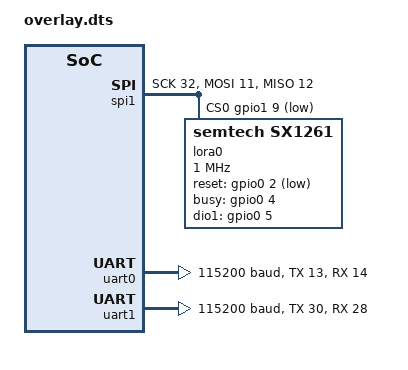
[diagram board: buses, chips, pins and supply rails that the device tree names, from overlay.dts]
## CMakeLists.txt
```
# Find Zephyr. This also loads Zephyr's build system.
cmake_minimum_required(VERSION 3.13.1)

set(BOARD nrf52840dk_nrf52840)
# set(BOARD nrf52833dk_nrf52833)
set(DTC_OVERLAY_FILE overlay.dts)

find_package(Zephyr REQUIRED HINTS $ENV{ZEPHYR_BASE})
project(draeger-module_lora_ble_scan)


# Add your source file to the "app" target. This must come after
# find_package(Zephyr) which defines the target.
target_sources(app PRIVATE src/main.c)
target_sources(app PRIVATE src/UART_handler.c)
target_sources(app PRIVATE src/SEGGER_RTT_printf.c)

zephyr_library_include_directories(${ZEPHYR_BASE}/samples/bluetooth)
```

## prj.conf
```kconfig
#To print messages for debugging.
CONFIG_PRINTK=y
CONFIG_ASSERT=y
CONFIG_HEAP_MEM_POOL_SIZE=2048
CONFIG_MAIN_STACK_SIZE=4096

CONFIG_UART_1_NRF_TX_BUFFER_SIZE=128
CONFIG_UART_0_NRF_TX_BUFFER_SIZE=128


# This line is crucial, as we do not have the coils for DCDC on the module
# The program will not boot without this line
CONFIG_BOARD_ENABLE_DCDC=n

# for uart:
CONFIG_SERIAL=y
CONFIG_UART_INTERRUPT_DRIVEN=y
CONFIG_CONSOLE=y
CONFIG_STDOUT_CONSOLE=y
# CONFIG_UART_CONSOLE=y

# for RTT debugging
CONFIG_RTT_CONSOLE=y
CONFIG_USE_SEGGER_RTT=y
CONFIG_STDOUT_CONSOLE=y
CONFIG_UART_CONSOLE=n


# for BLE
CONFIG_BT=y
CONFIG_BT_CENTRAL=y

# for BLE SCAN
CONFIG_BT_BROADCASTER=y
CONFIG_BT_OBSERVER=y
CONFIG_BT_DEBUG_LOG=y
# CONFIG_BT_DEBUG_CONN=y
# CONFIG_BT_DEBUG_ATT=y
# CONFIG_BT_DEBUG_GATT=y
#Custom central scanning
CONFIG_BT_SCAN=y
CONFIG_BT_SCAN_FILTER_ENABLE=y
# CONFIG_BT_SCAN_MANUFACTURER_DATA_CNT=1
# CONFIG_BT_SCAN_ADDRESS_CNT=1
CONFIG_BT_PRIVACY=y

#Flash settings for storage of security keys
CONFIG_BT_SETTINGS=y
CONFIG_FLASH=y
CONFIG_FLASH_PAGE_LAYOUT=y
CONFIG_FLASH_MAP=y
CONFIG_NVS=y
CONFIG_SETTINGS=y

# for LoRaWAN
# CONFIG_SPI=y
# CONFIG_GPIO=y
# CONFIG_LORA=y
# CONFIG_LORA_SX12XX=y
# CONFIG_LORA_SX126X=y
# CONFIG_LORA_LOG_LEVEL_DBG=n
# CONFIG_LORAWAN=y
# CONFIG_LORAMAC_REGION_EU868=y
# CONFIG_LORAWAN_LOG_LEVEL_DBG=n
```

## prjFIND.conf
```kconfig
#To print messages for debugging.
CONFIG_PRINTK=y

CONFIG_HEAP_MEM_POOL_SIZE=512
CONFIG_CBOR_FLOATING_POINT=y
CONFIG_NEWLIB_LIBC_FLOAT_PRINTF=y

# This line is crucial, as we do not have the coils for DCDC on the module
# The program will not boot without this line
CONFIG_BOARD_ENABLE_DCDC=n

# for uart:
CONFIG_SERIAL=y
CONFIG_UART_INTERRUPT_DRIVEN=y
CONFIG_CONSOLE=y
CONFIG_STDOUT_CONSOLE=y
CONFIG_UART_CONSOLE=y

# for RTT
CONFIG_RTT_CONSOLE=y
CONFIG_USE_SEGGER_RTT=y

# for sys_reboot()
CONFIG_REBOOT=y

# for BLE SCAN
CONFIG_BT=y
CONFIG_BT_BROADCASTER=y
CONFIG_BT_OBSERVER=y
CONFIG_BT_DEBUG_LOG=y

# for BLE
CONFIG_BT=y
CONFIG_BT_CENTRAL=y

# for BLE SCAN
CONFIG_BT_BROADCASTER=y
CONFIG_BT_OBSERVER=y
CONFIG_BT_DEBUG_LOG=y

#Custom central scanning
CONFIG_BT_SCAN=y
CONFIG_BT_SCAN_FILTER_ENABLE=y
# CONFIG_BT_SCAN_MANUFACTURER_DATA_CNT=1
# CONFIG_BT_SCAN_SHORT_NAME_CNT= 0
# CONFIG_BT_SCAN_ADDRESS_CNT=1

CONFIG_BT_PRIVACY=y



# CONFIG_BT_GATT_DM =1
# CONFIG_BT_GATT_DM_MAX_ATTRS =35
# CONFIG_BT_GATT_DM_MAX_MEM_CHUNKS= 6
# CONFIG_BT_SCAN= 1
# CONFIG_BT_SCAN_NAME_MAX_LEN= 32
# CONFIG_BT_SCAN_SHORT_NAME_MAX_LEN= 32
# CONFIG_BT_SCAN_FILTER_ENABLE= t
# CONFIG_BT_SCAN_MANUFACTURER_DATA_MAX_LEN= 32
# CONFIG_BT_SCAN_UUID_CNT= 0
# CONFIG_BT_SCAN_NAME_CNT= 0
# CONFIG_BT_SCAN_SHORT_NAME_CNT= 1
# CONFIG_BT_SCAN_ADDRESS_CNT= 0
# CONFIG_BT_SCAN_APPEARANCE_CNT= 0
# CONFIG_BT_SCAN_MANUFACTURER_DATA_CNT= 0


# for LoRaWAN
#CONFIG_SPI=y
#CONFIG_GPIO=y
#CONFIG_LORA=y
#CONFIG_LORA_SX12XX=y
#CONFIG_LORA_SX126X=y
#CONFIG_LORA_LOG_LEVEL_DBG=y
#CONFIG_LORAWAN=y
#CONFIG_LORAMAC_REGION_EU868=y
#CONFIG_LORAWAN_LOG_LEVEL_DBG=y
```

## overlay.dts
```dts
// https://github.com/zephyrproject-rtos/zephyr/issues/27915
&spi1 {
	compatible = "nordic,nrf-spi";
	status = "okay";
	// draeger module (new):
	sck-pin = <32>;
	mosi-pin = <11>;
	miso-pin = <12>;
	cs-gpios = <&gpio1 9 GPIO_ACTIVE_LOW>;
	// draeger module (telit):
//	sck-pin = <6>;
//	mosi-pin = <14>;
//	miso-pin = <5>;
//	cs-gpios = <&gpio0 16 GPIO_ACTIVE_LOW>;
    // eval board:
//	sck-pin = <25>;
//	mosi-pin = <23>;
//	miso-pin = <24>;
//	cs-gpios = <&gpio0 18 GPIO_ACTIVE_LOW>;
	lora0: sx1261@0 {
		compatible = "semtech,sx1261";
		reg = <0>;
		label = "lora0";
		// -- draeger module (new):
		reset-gpios = <&gpio0 2 GPIO_ACTIVE_LOW>;
		busy-gpios = <&gpio0 4 GPIO_ACTIVE_HIGH>;
		dio1-gpios = <&gpio0 5 GPIO_ACTIVE_HIGH>;
		// -- draeger module (telit):
//		reset-gpios = <&gpio0 31 GPIO_ACTIVE_LOW>;
//		// busy pin: 25 on first hw version, must be changed to 22 and resoldered on hw1
//		busy-gpios = <&gpio0 22 GPIO_ACTIVE_HIGH>;
//		//busy-gpios = <&gpio0 25 GPIO_ACTIVE_HIGH>;
//		dio1-gpios = <&gpio0 8 GPIO_ACTIVE_HIGH>;
		// -- eval board:
//		reset-gpios = <&gpio0 3 GPIO_ACTIVE_LOW>;
//		busy-gpios = <&gpio0 14 GPIO_ACTIVE_HIGH>;
//		dio1-gpios = <&gpio0 16 GPIO_ACTIVE_HIGH>;
        // --
		spi-max-frequency = <1000000>;
		status = "okay";
		dio2-tx-enable;
	};
};

&uart0 {
	status = "okay";
	compatible = "nordic,nrf-uarte";
	current-speed = <115200>;
	// draeger module (new):
	tx-pin = <13>;
	rx-pin = <14>;
	rts-pin = <16>;
	cts-pin = <17>;
	// draeger module (telit):
//	tx-pin = <17>;
//	rx-pin = <11>;
//	rts-pin = <7>;
//	cts-pin = <12>;
	// eval board:
//	tx-pin = <6>;
//	rx-pin = <8>;
//	rts-pin = <5>;
//	cts-pin = <7>;
};
&uart1 {
	status = "okay";
	compatible = "nordic,nrf-uarte";
	current-speed = <115200>;
	// draeger module (new):
	tx-pin = <30>;
	rx-pin = <28>;
};
```

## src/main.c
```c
/* main.c - Application main entry point */

/*
 * Copyright (c) 2015-2016 Intel Corporation
 *
 * SPDX-License-Identifier: Apache-2.0
 */
// 8899
#include <stdio.h>
#include <zephyr/types.h>
#include <stddef.h>
#include <errno.h>
#include <zephyr.h>
#include <sys/printk.h>
#include <device.h>
#include <devicetree.h>
#include <sys/__assert.h>
#include <string.h>
#include <drivers/uart.h>
#include <kernel.h>

#include <bluetooth/bluetooth.h>
#include <bluetooth/hci.h>
#include <bluetooth/conn.h>
#include <bluetooth/uuid.h>
#include <bluetooth/gatt.h>
#include <sys/byteorder.h>

#include "UART_handler.h"
#include <SEGGER_RTT.h>

#define STACKSIZE1 2048
#define STACKSIZE2 1024
#define DEVICE_LABEL "ble_loc_d-02_"
#define SENT_TIME_THRESHOLD 3000
#define NUM_OF_BEACONS 4
#define SEND_BUFF_LEN 350
#define NUM_OF_RSSI_COLECTION 5
#define MAX_NUM_NEIGHBOUR_ANCHORS 4

#define C_STATUS_COLLECTING 0
#define C_STATUS_SENT 1
#define C_STATUS_READY_TO_BE_SENT 2

#define BUF_STATUS_PENDING 0
#define BUF_STATUS_TRYING_TO_SEND 1
#define BUF_STATUS_SENT 2

int num_of_sent_neighbouring_anchors = 0;

char BECON_ADDRS[NUM_OF_BEACONS][17] = {
	"20:C3:8F:FA:1C:28", //1
	"A0:E6:F8:54:4F:F6", //2
	"98:07:2D:3B:8B:89", //3
	"A0:E6:F8:54:4F:AE" //4
};

typedef struct RssiInfo {
	int beacon_num;
	int counter;
	uint8_t status;
	int8_t rssi_array[NUM_OF_RSSI_COLECTION];
} RssiInfo;

struct RssiInfo *rssi_collection[NUM_OF_BEACONS];

typedef struct Send_Buff {
	char data[SEND_BUFF_LEN];
	int len;
	uint8_t status;
} Send_Buff;

// Send_Buff send_buff = { .data = "ble_loc_test", .len = 19 };

/*----------------------------------------------------------------
compares addr with all beacons addrs defined in BECON_ADDRS return beacon's index if it 
matches with at leas one of them otherwise returns -1
*/
int is_draeger_beacon(char *addr)
{
	int cond = 0;
	// memset(cond, 0, NUM_OF_BEACONS);

	for (int beacon_i = 0; beacon_i < NUM_OF_BEACONS; beacon_i++) {
		for (int i = 0; i < 17; i++) {
			cond = *(addr + i) == *(BECON_ADDRS[beacon_i] + i) ? 1 :
										   0;
			if (!cond) {
				break;
			}
		}
		if (cond) {
			return beacon_i;
		}
	}
	return -1;
}
static void start_scan(void);

static struct bt_conn *default_conn;

static void device_found(const bt_addr_le_t *addr, int8_t rssi, uint8_t type,
			 struct net_buf_simple *ad)
{
	char addr_str[BT_ADDR_LE_STR_LEN];

	if (default_conn) {
		return;
	}

	bt_addr_le_to_str(addr, addr_str, sizeof(addr_str));

	/* We're only interested in connectable events */
	// if (type != BT_GAP_ADV_TYPE_ADV_IND &&
	//     type != BT_GAP_ADV_TYPE_ADV_DIRECT_IND) {
	// 	return;
	// }

	char just_addr[17] = { "\0" };
	memcpy(just_addr, addr_str, 17);
	// printk("Device found: %s (RSSI %d)\n", addr_str, rssi);

	int i_beacon = is_draeger_beacon(addr_str);
	// printk("i_beacon: %d \n", i_beacon);
	if (i_beacon != -1) {
		// printk("------------------------- \n");
		// printk("fount it! beac %d \n", i_beacon);
		// printk("Device found: %s (RSSI %d)\n", addr_str, rssi);
		// printk("i_beacon: %d \n", i_beacon);
		// int64_t currTime = k_uptime_get();
		// if we gattered enought rssi return
		if (rssi_collection[i_beacon]->status ==
		    C_STATUS_READY_TO_BE_SENT) {
			return;
		}
		if (rssi_collection[i_beacon]->status == C_STATUS_SENT) {
			return;
		}
		rssi_collection[i_beacon]->beacon_num = i_beacon;
		int curr_idx = rssi_collection[i_beacon]->counter;
		rssi_collection[i_beacon]->rssi_array[curr_idx] = -1 * rssi;
		rssi_collection[i_beacon]->counter = curr_idx + 1;
		if (rssi_collection[i_beacon]->counter ==
		    NUM_OF_RSSI_COLECTION) {
			rssi_collection[i_beacon]->status =
				C_STATUS_READY_TO_BE_SENT;
		}

		// printk("beacon_num: %d \n",
		//        rssi_collection[i_beacon]->beacon_num);
		// printk("curr_idx: %d \n", curr_idx);
		// printk("rssi found: %d \n", rssi);
		// printk("counter: %d \n", rssi_collection[i_beacon]->counter);
		// printk("curr_idx: %d \n", curr_idx);
		// printk("status %d \n", rssi_collection[i_beacon]->status);

		// printk("------------------------- \n");
		// k_msleep(2000);
	}

	/* connect only to devices in close proximity */

	if (bt_le_scan_stop()) {
		return;
	}

	// err = bt_conn_le_create(addr, BT_CONN_LE_CREATE_CONN,
	// 			BT_LE_CONN_PARAM_DEFAULT, &default_conn);
	// if (err) {
	// 	printk("Create conn to %s failed (%u)\n", addr_str, err);
	// 	start_scan();
	// }
	start_scan();
}

static void start_scan(void)
{
	int err;

	/* pasive scan */
	err = bt_le_scan_start(BT_LE_SCAN_PASSIVE, device_found);
	if (err) {
		printk("Scanning failed to start (err %d)\n", err);
		return;
	}

	// printk("Scanning successfully started\n");
}

static void connected(struct bt_conn *conn, uint8_t err)
{
	char addr[BT_ADDR_LE_STR_LEN];

	bt_addr_le_to_str(bt_conn_get_dst(conn), addr, sizeof(addr));

	if (err) {
		printk("Failed to connect to %s (%u)\n", addr, err);

		bt_conn_unref(default_conn);
		default_conn = NULL;

		start_scan();
		return;
	}

	if (conn != default_conn) {
		return;
	}

	printk("Connected: %s\n", addr);

	bt_conn_disconnect(conn, BT_HCI_ERR_REMOTE_USER_TERM_CONN);
}

static void disconnected(struct bt_conn *conn, uint8_t reason)
{
	char addr[BT_ADDR_LE_STR_LEN];

	if (conn != default_conn) {
		return;
	}

	bt_addr_le_to_str(bt_conn_get_dst(conn), addr, sizeof(addr));

	printk("Disconnected: %s (reason 0x%02x)\n", addr, reason);

	bt_conn_unref(default_conn);
	default_conn = NULL;

	start_scan();
}

static struct bt_conn_cb conn_callbacks = {
	.connected = connected,
	.disconnected = disconnected,
};

const struct device *uart1_dev;
static void init_uart()
{
	// uint8_t err = 0;
	// const struct device *uart1_dev;
	uart1_dev = init_uart_dev("UART_1");
	if (!uart1_dev) {
		printk("[UART1] Failed to get device!\n");
	}
	uart_irq_rx_enable(uart1_dev);
}
const struct device *uart0_dev;
static void init_uart0()
{
	// uint8_t err = 0;
	// const struct device *uart1_dev;
	uart0_dev = init_uart_dev("UART_0");
	if (!uart0_dev) {
		printk("[UART0] Failed to get device!\n");
	}
	uart_irq_rx_enable(uart0_dev);
}

static void send_uart0(char *send_buff)
{
	int err;
	char tx_buffer[UART_TX_LINE_BUF_SIZE] = { '\0' };

	strcpy(tx_buffer, send_buff);
	printk("Send to uart0: %s\n", tx_buffer);

	err = tx_message_uart(tx_buffer, strlen(tx_buffer), uart0_dev);
	if (err < 0) {
		printk("FAILED UART0 TX\n");
	}
}

static void receive_uart0()
{
	char rx_buffer[UART_RX_LINE_BUF_SIZE] = { '\0' };
	int len = 0;
	uart_irq_rx_enable(uart0_dev);
	while (1) {
		printk("test:\n");
		// if (!strcmp(rx_buffer, "ack\n") == 0) {
		// 	printk("recived:\n");
		// }
		k_msleep(3000);
	}
	// len = rx_message_uart(rx_buffer, K_MSEC(2000), uart1_dev);
	len = rx_message_uart(rx_buffer, K_MSEC(20000), uart0_dev);
	while (1) {
		printk("recived:\n %s", rx_buffer);
		// if (!strcmp(rx_buffer, "ack\n") == 0) {
		// 	printk("recived:\n");
		// }
		k_msleep(1000);
	}
	// uart_irq_rx_disable(uart0_dev);
}

static void nbiot_send(struct Send_Buff *send_buff)
{
	int err;
	char tx_buffer[UART_TX_LINE_BUF_SIZE] = { '\0' };
	char rx_buffer[UART_RX_LINE_BUF_SIZE] = { '\0' };
	int len = 0;

	// memcpy(tx_buffer, payload->data, payload->len);
	strcpy(tx_buffer, send_buff->data);
	send_buff->status = BUF_STATUS_TRYING_TO_SEND;
	printk("Send to nRF9160: %s\n", tx_buffer);
	uart_irq_rx_enable(uart1_dev);
	err = tx_message_uart(tx_buffer, strlen(tx_buffer), uart1_dev);
	if (err < 0) {
		printk("FAILED UART TX\n");
	}
	// memset(tx_buffer, 0, sizeof(tx_buffer));

	len = rx_message_uart(rx_buffer, K_MSEC(2000), uart1_dev);
	if (len <= 0) {
		printk("Failed UART RX Receiption from nRF9160\n");
	} else {
		printk("UART RX from nRF9160: %s\n", rx_buffer);
		if (!strcmp(rx_buffer, "ACK\n") == 0) {
			printk("faliled to recieve acknowledgement!\n");
		} else {
			send_buff->status = BUF_STATUS_SENT;
			num_of_sent_neighbouring_anchors++;
		}
	}

	// printk("out ...\n");
	// k_msleep(2000);

	uart_irq_rx_disable(uart1_dev);
}

int blt_force_stop()
{
	int flag = 1;
	int ret;
	int MAX_ITER = 6000;
	int iter = 0;
	while (flag) {
		ret = bt_scan_stop();
		if (ret == 0) {
			flag = 0;
		}
		if (iter > MAX_ITER) {
			flag = 0;
		}
		iter++;
	}

	return ret;
}

int get_last_index(char *data)
{
	int tip = 0;
	while (*(data + tip) != '\0') {
		tip++;
	}
	return tip;
}

void prepare_send_data(Send_Buff *buff, int beacon_idx, uint8_t pX, uint8_t pY)
{
	memset(buff->data, 0, SEND_BUFF_LEN);
	int data_tip = 0;
	strcpy(buff->data, "ble_loc_COLL_pX");
	u8_to_dec(buff->data + strlen(buff->data), 3, pX);
	strcat(buff->data, "_pY");
	data_tip = get_last_index(buff->data);
	u8_to_dec(buff->data + data_tip, 3, pY);
	strcat(buff->data, "_from_");
	data_tip = get_last_index(buff->data);
	u8_to_dec(buff->data + data_tip, 3,
		  rssi_collection[beacon_idx]->beacon_num + 1);
	strcat(buff->data, "_rssi_");
	data_tip = get_last_index(buff->data);

	printk("\n\n++++++++++++++++++++++++++++++++++++++\n");
	printk("preparing beacon number: %d", beacon_idx);

	for (int idx = 0; idx < NUM_OF_RSSI_COLECTION - 1; idx++) {
		// printk("index: %d\n", i_anchor);
		// printk("anchor_num: %d\n",
		//        anchor_array[i_anchor].anch_num);
		u8_to_dec(buff->data + data_tip, 3,
			  rssi_collection[beacon_idx]->rssi_array[idx]);
		strcat(buff->data, "-");
		data_tip = get_last_index(buff->data);
	}
	buff->data[data_tip - 1] = *"\n";
	// buff->data[data_tip+] = *"\0";
	buff->len = data_tip - 1;

	// printk("final payload->len: %d\n", payload->len);
	printk("fbuf->data: %s", buff->data);
	printk("\n++++++++++++++++++++++++++++++++++++++\n\n");
}

void send_lte(void)

{
	SEGGER_RTT_Init();
	k_msleep(4000);
	printk("starting the lte send ...\n");

	init_uart();
	printk("uart initialized \n");

	struct Send_Buff send_buff = *(Send_Buff *)k_malloc(sizeof(Send_Buff));

	//just for the test
	strcpy(send_buff.data, "ble_loc_02-12-56-57-code1234\n");
	send_buff.len = strlen(send_buff.data);
	send_buff.status = BUF_STATUS_PENDING;
	printk("data is: %s ,data len:%d", send_buff.data, send_buff.len);
	while (1) {
		printk("sendin ...\n");
		nbiot_send(&send_buff);
		k_msleep(10000);
	}

	while (num_of_sent_neighbouring_anchors < MAX_NUM_NEIGHBOUR_ANCHORS) {
		for (int idx = 0; idx < NUM_OF_BEACONS; idx++) {
			// printf("------------------\n");
			// printf("counter_%d -> %d \n", idx,
			//        rssi_collection[idx]->counter);
			if (rssi_collection[idx]->status ==
			    C_STATUS_READY_TO_BE_SENT) {
				// printf("sendstatus %d \n", send_buff.status);
				if (send_buff.status ==
				    BUF_STATUS_TRYING_TO_SEND) {
					nbiot_send(&send_buff);
				} else if (send_buff.status ==
					   BUF_STATUS_PENDING) {
					prepare_send_data(&send_buff, idx, 0,
							  0);
					nbiot_send(&send_buff);
				} else if (send_buff.status ==
					   BUF_STATUS_SENT) {
					rssi_collection[idx]->status =
						C_STATUS_SENT;
					send_buff.status = BUF_STATUS_PENDING;
				}
			}
			// printf("------------------\n");
			// k_msleep(2000);
		}
	}
	printk("finished sendig neighbouring anchors, count= %d",
	       num_of_sent_neighbouring_anchors);
	k_cpu_idle();
}

void search_beacons(void)

{
	SEGGER_RTT_Init();
	k_msleep(2000);

	printk("starting search_beacons-entry ...\n");
	// init_uart();
	// init_rssi_collection();
	// struct Payload payload =
	// 	*(struct Payload *)k_malloc(sizeof(struct Payload));
	RssiInfo *myrssi_collection =
		(RssiInfo *)k_malloc(NUM_OF_BEACONS * sizeof(struct RssiInfo));

	for (int i = 0; i < NUM_OF_BEACONS; i++) {
		// rssi_collection[i] =
		// 	*(struct RssiInfo *)k_malloc(sizeof(struct RssiInfo));
		rssi_collection[i] = myrssi_collection + i;
		rssi_collection[i]->beacon_num = i;
		rssi_collection[i]->counter = 0;
		rssi_collection[i]->status = C_STATUS_COLLECTING;
		// printk("becnum %d\n", rssi_collection[i]->beacon_num);

		memset(rssi_collection[i]->rssi_array, 1,
		       NUM_OF_RSSI_COLECTION);
	}

	int err;

	err = bt_enable(NULL);
	if (IS_ENABLED(CONFIG_SETTINGS)) {
		settings_load();
	}
	if (err) {
		printk("Bluetooth init failed (err %d)\n", err);
		return;
	}

	printk("Bluetooth initialized\n");

	bt_conn_cb_register(&conn_callbacks);

	start_scan();

	// uint8_t flag = 1;
	// while (flag) {
	// 	if (num_of_sent_neighbouring_anchors >=
	// 	    MAX_NUM_NEIGHBOUR_ANCHORS) {
	// 		blt_force_stop();
	// 		flag = 0;
	// 	}
	// }
	// k_cpu_idle();

	// int64_t lastTime = 0;

	// k_cpu_idle();

	// while (true) {
	// 	int64_t currTime = k_uptime_get();
	// 	// printk("curr time-> %lld , time diff-> %lld \n", currTime,
	// 	//        currTime - lastTime);
	// 	if (currTime - lastTime > SENT_TIME_THRESHOLD) {
	// 		blt_force_stop();
	// 		prepare_payload(&PAYLOAD, currTime);
	// 		//sed data
	// 		// nbiot_send(&PAYLOAD);
	// 		// k_msleep(2000);
	// 		lastTime = k_uptime_get();
	// 		start_scan();
	// 	}
	// }
}

void send_uart_entry()
{
	SEGGER_RTT_Init();
	k_msleep(2000);

	printk("starting the uart_entry\n");

	init_uart0();
	// receive_uart0();
	k_cpu_idle();
	// char *buff = "testing uart0\r\n";
	// while (1) {
	// 	send_uart0(buff);
	// 	k_msleep(3000);
	// }
}

// K_THREAD_DEFINE(search_id, STACKSIZE1, search_beacons, NULL, NULL, NULL, 7, 0,
// 		0);
// K_THREAD_DEFINE(send_id, STACKSIZE1, send_lte, NULL, NULL, NULL, 6, 0, 0);
K_THREAD_DEFINE(send_uart_id, STACKSIZE1, send_uart_entry, NULL, NULL, NULL, 6,
		0, 0);
```

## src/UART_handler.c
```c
/*
Author: Björn Sievers
Project: UART_handler
Purpose: Enables easier integration of UART message handling in the desired project.
This project uses ISR & the Zephyr OS FIFO feature to store & send messages from a desired UART port
This handler has the feature to listen for specific "endMarkers" which are expected as an indicator of the end of a UART message.
The endMarkers to be listend to can be specified in the "UART_handler.h" file.
IMPORTANT: If the endMarker does not appear in the received UART string the received message will not be made stored into the FIFO structure!
*/

//++++++++++++++++++++++++++ INCLUDES START +++++++++++++++++++++++++++
#include <zephyr.h>
#include <kernel.h>
#include <sys/printk.h>
#include <sys/__assert.h>
#include <device.h>
#include <devicetree.h>
#include <string.h>
#include <drivers/uart.h>
#include <stdio.h>
#include "UART_handler.h"
//++++++++++++++++++++++++++ INCLUDES END +++++++++++++++++++++++++++

static K_FIFO_DEFINE(fifo_uart_tx_data);
static K_FIFO_DEFINE(fifo_uart1_tx_data);

static K_FIFO_DEFINE(fifo_uart_rx_data);
static K_FIFO_DEFINE(fifo_uart1_rx_data);

uart_rx_helper uart0_rx = { 0, { 0 }, false };
uart_rx_helper uart1_rx = { 0, { 0 }, false };

const struct device *uart_dev_0;
const struct device *uart_dev_1;

static void rx_isr_uart_0(const struct device *x)
{
	int data_length = 0;
	uint8_t byte;
	data_length = uart_fifo_read(x, &byte, 1);
	if (uart0_rx.uart_rx_buff_len < UART_RX_LINE_BUF_SIZE) {
		uart0_rx.uart_rx_buf[uart0_rx.uart_rx_buff_len] = byte;
		uart0_rx.uart_rx_buff_len += data_length;
	}
	//If received byte stream exceeds maximum buffer size of UART_RX_LINE_BUF_SIZE
	//remaining incomming data will be ignored and the already received data stream will be
	//treated as invalid data which will be tossed away as soon as an EndMarker was found.
	else {
		uart0_rx.dirty = true;
		uart0_rx.uart_rx_buff_len += data_length;
	}
	if (byte == COM_RX_ENDMARKER_1_UART0 ||
	    byte == COM_RX_ENDMARKER_2_UART0) {
		if (!uart0_rx.dirty) {
			uart_rx_fifo_data_t *rx_data =
				k_malloc(sizeof(uart_rx_fifo_data_t));
			if (rx_data) {
				rx_data->received_line =
					k_malloc(UART_RX_LINE_BUF_SIZE);
				if (rx_data->received_line) {
					memcpy(rx_data->received_line,
					       uart0_rx.uart_rx_buf,
					       uart0_rx.uart_rx_buff_len);
					rx_data->len =
						uart0_rx.uart_rx_buff_len;
					rx_data->received_line[rx_data->len] =
						'\0';
					k_fifo_put(&fifo_uart_rx_data, rx_data);
					memset(uart0_rx.uart_rx_buf, 0,
					       UART_RX_LINE_BUF_SIZE);
					uart0_rx.uart_rx_buff_len = 0;
					uart0_rx.dirty = false;
					return;
				}
			}
		} else {
			printk("UART0: Received data stream exceeds buffer size! Len: %d\n",
			       uart0_rx.uart_rx_buff_len);
			memset(uart0_rx.uart_rx_buf, 0, UART_RX_LINE_BUF_SIZE);
			uart0_rx.uart_rx_buff_len = 0;
			uart0_rx.dirty = false;
		}
	}
}

static void rx_isr_uart_1(const struct device *x)
{
	int data_length = 0;
	uint8_t byte;
	data_length = uart_fifo_read(x, &byte, 1);
	if (uart1_rx.uart_rx_buff_len < UART_RX_LINE_BUF_SIZE) {
		uart1_rx.uart_rx_buf[uart1_rx.uart_rx_buff_len] = byte;
		uart1_rx.uart_rx_buff_len += data_length;
	}
	//If received byte stream exceeds maximum buffer size of UART_RX_LINE_BUF_SIZE
	//remaining incomming data will be ignored and the already received data stream will be
	//treated as invalid data which will be tossed away as soon as an EndMarker was found.
	else {
		uart1_rx.dirty = true;
		uart1_rx.uart_rx_buff_len += data_length;
	}
	// printk("Byte: %s\n", (char *)byte);
	if (byte == COM_RX_ENDMARKER_1_UART1 ||
	    byte == COM_RX_ENDMARKER_2_UART1) {
		if (!uart1_rx.dirty) {
			uart_rx_fifo_data_t *rx_data =
				k_malloc(sizeof(uart_rx_fifo_data_t));
			if (rx_data) {
				rx_data->received_line =
					k_malloc(UART_RX_LINE_BUF_SIZE);
				if (rx_data->received_line) {
					memcpy(rx_data->received_line,
					       uart1_rx.uart_rx_buf,
					       uart1_rx.uart_rx_buff_len);
					//printk("Received before FIFO: %s\n", rx_data->received_line);
					rx_data->len =
						uart1_rx.uart_rx_buff_len;
					rx_data->received_line[rx_data->len] =
						'\0';
					k_fifo_put(&fifo_uart1_rx_data,
						   rx_data);
					memset(uart1_rx.uart_rx_buf, 0,
					       UART_RX_LINE_BUF_SIZE);
					uart1_rx.uart_rx_buff_len = 0;
					uart1_rx.dirty = false;
				}
			}
		} else {
			printk("UART1: Received data stream exceeds buffer size! Len: %d\n",
			       uart1_rx.uart_rx_buff_len);
			memset(uart1_rx.uart_rx_buf, 0, UART_RX_LINE_BUF_SIZE);
			uart1_rx.uart_rx_buff_len = 0;
			uart1_rx.dirty = false;
		}
	}
}

static void tx_isr_uart_0(const struct device *x)
{
	static uart_data_t *buf = NULL;
	if (!buf) {
		buf = k_fifo_get(&fifo_uart_tx_data, K_NO_WAIT);
		//Check if there is data in the FIFO and if so does it comply with specified max. message length.
		if (buf) {
			if (buf->len > UART_TX_LINE_BUF_SIZE) {
				uart_irq_tx_disable(x);
				buf = NULL;
				printk("UART0: Received data string exceeds maximum specified buffer length: Max.: %d",
				       UART_TX_LINE_BUF_SIZE);
				return;
			}

			uint16_t written = 0;
			while (buf->len > written) {
				written +=
					uart_fifo_fill(x, &buf->data[written],
						       buf->len - written);
				//printk("Written: %d, Send: %s", written, buf->data);
			}
			while (!uart_irq_tx_complete(x)) {
				/* Wait for the last byte to get
		 	* shifted out of the module
			*/
			}
			if (k_fifo_is_empty(&fifo_uart_tx_data)) {
				memset(buf->data, 0, sizeof(buf->data));
				if (buf != NULL) {
					k_free(buf);
				}
				buf = NULL;
				uart_irq_tx_disable(x);
			}
		}
		/* Nothing in the FIFO, nothing to send or received databuffer exceeds maximum length*/
		else {
			uart_irq_tx_disable(x);
			return;
		}
		if (buf != NULL) {
			buf = NULL;
		}
	}
}

static void tx_isr_uart_1(const struct device *x)
{
	uart_data_t *buf2 = NULL;
	if (!buf2) {
		buf2 = k_fifo_get(&fifo_uart1_tx_data, K_NO_WAIT);
		//Check if there is data in the FIFO and if so does it comply with specified max. message length.
		if (buf2) {
			if (buf2->len > UART_TX_LINE_BUF_SIZE) {
				uart_irq_tx_disable(x);
				buf2 = NULL;
				printk("UART1: Received data string exceeds maximum specified buffer length: Max.: %d",
				       UART_TX_LINE_BUF_SIZE);
				return;
			}

			uint16_t written = 0;
			//printk("+++++++++++++++++++++SENDING: %s", buf2->data);
			while (buf2->len > written) {
				written +=
					uart_fifo_fill(x, &buf2->data[written],
						       buf2->len - written);
				printk("Written: %d, Send: %s", written,
				       buf2->data);
			}
			while (!uart_irq_tx_complete(x)) {
				/* Wait for the last byte to get
		 	* shifted out of the module
			*/
			}
			if (k_fifo_is_empty(&fifo_uart1_tx_data)) {
				memset(buf2->data, 0, sizeof(buf2->data));
				if (buf2 != NULL) {
					k_free(buf2);
				}
				buf2 = NULL;
				uart_irq_tx_disable(x);
			}
		}
		/* Nothing in the FIFO, nothing to send or received databuffer exceeds maximum length*/
		else {
			uart_irq_tx_disable(x);
			return;
		}
		if (buf2 != NULL) {
			buf2 = NULL;
		}
	}
}

static void uart_cb(const struct device *x, void *user_data)
{
	uart_irq_update(x);

	//RX_HANDLING
	if (uart_irq_rx_ready(x)) {
		if (x == uart_dev_0) {
			rx_isr_uart_0(x);
		}
		if (x == uart_dev_1) {
			rx_isr_uart_1(x);
		}
	}

	//TX_HANDLING
	if (uart_irq_tx_ready(x)) {
		if (x == uart_dev_0) {
			tx_isr_uart_0(x);
		}
		if (x == uart_dev_1) {
			tx_isr_uart_1(x);
		}
	}
}

int tx_message_uart(char *tx_buf, size_t msg_len, const struct device *x)
{
	// printk("+=+=+=+=+=+=+=+=+=+=+=+=\n");
	// printk("this is tx_message_uart\n");
	if (tx_buf == NULL || msg_len < 0) {
		// printk("1,tx_buff:%s \n", tx_buf);
		return -EINVAL;
	}
	if ((msg_len > CONFIG_UART_0_NRF_TX_BUFFER_SIZE) && (x == uart_dev_0)) {
		// printk("2, msg_len:%d\n ", msg_len);
		return -EFBIG;
	}
	if ((msg_len > CONFIG_UART_1_NRF_TX_BUFFER_SIZE) && (x == uart_dev_1)) {
		// printk("msg_len %d:\n", msg_len);
		return -EFBIG;
	}

	uart_data_t *tx_data = k_malloc(sizeof(uart_data_t));
	if (tx_data == NULL) {
		printk("NO MEMORY ALLOCATED!!\n");
		return -EINVAL;
	}
	tx_data->len = msg_len;
	memcpy(tx_data->data, tx_buf, msg_len);

	if (x == uart_dev_0) {
		k_fifo_put(&fifo_uart_tx_data, tx_data);
		//k_free(tx_data);
		uart_irq_tx_enable(x);
		// printk("return 0 1\n");
		return 0;
	}
	if (x == uart_dev_1) {
		k_fifo_put(&fifo_uart1_tx_data, tx_data);
		//k_free(tx_data);
		uart_irq_tx_enable(x);
		// printk("return 0 2\n");
		return 0;
	} else
		k_free(tx_data);
	// printk("k_free ...\n");
	return -EINVAL;
}

int rx_message_uart(char *rx_buf, k_timeout_t timeout, const struct device *x)
{
	if (rx_buf == NULL || x == NULL) {
		return -EINVAL;
	}

	int len = 0;
	uart_rx_fifo_data_t *received = NULL;
	if (x == uart_dev_0) {
		received = k_fifo_get(&fifo_uart_rx_data, timeout);
	}
	if (x == uart_dev_1) {
		received = k_fifo_get(&fifo_uart1_rx_data, timeout);
	}
	if (received) {
		memcpy(rx_buf, received->received_line, received->len);
		printk("rx_buf: %s \n", rx_buf);
		len = received->len;
		k_free(received->received_line);
		k_free(received);
	} else {
		return -EINVAL;
	}
	return len;
}

//ZERO WHEN AVAILABLE
int check_rx_uart_available(const struct device *x)
{
	int ret;

	if (x == uart_dev_0) {
		//ZERO WHEN AVAILABLE
		ret = k_fifo_is_empty(&fifo_uart_rx_data);
		printk("RETURN FIFO_CHECK %d, non-zero if empty\n", ret);
		if (ret != 0) {
			return -EINVAL;
		}
	}

	if (x == uart_dev_1) {
		ret = k_fifo_is_empty(&fifo_uart1_rx_data);
		if (ret != 0) {
			return -EINVAL;
		}
	}
	return 0;
}

const struct device *init_uart_dev(const char *uart_num)
{
	if (uart_num == NULL) {
		return NULL;
	}
	int comp = strcmp(uart_num, "UART_0");
	if (comp == 0) {
		uart_dev_0 = device_get_binding(uart_num);
		if (!uart_dev_0) {
			printk("[UART] Failed to get device!\n");
			return NULL;
		}
		// and initialise
		uart_irq_rx_disable(uart_dev_0);
		uart_irq_tx_disable(uart_dev_0);
		uart_irq_callback_set(uart_dev_0, uart_cb);
		return uart_dev_0;
	}
	comp = strcmp(uart_num, "UART_1");
	if (comp == 0) {
		uart_dev_1 = device_get_binding(uart_num);
		if (!uart_dev_1) {
			printk("[UART] Failed to get device!\n");
			return NULL;
		}
		// and initialise
		uart_irq_rx_disable(uart_dev_1);
		uart_irq_tx_disable(uart_dev_1);
		uart_irq_callback_set(uart_dev_1, uart_cb);
		return uart_dev_1;
	}
	return NULL;
}

const struct device *init_uart_dev_and_ISR(const char *uart_num)
{
	if (uart_num == NULL) {
		return NULL;
	}

	int comp = strcmp(uart_num, "UART_0");
	if (comp == 0) {
		uart_dev_0 = device_get_binding(uart_num);
		if (!uart_dev_0) {
			printk("[UART] Failed to get device!\n");
			return NULL;
		}
		// and initialise
		uart_irq_rx_disable(uart_dev_0);
		uart_irq_tx_disable(uart_dev_0);
		uart_irq_callback_set(uart_dev_0, uart_cb);
		uart_irq_rx_enable(uart_dev_0);
		return uart_dev_0;
	}
	comp = strcmp(uart_num, "UART_1");
	if (comp == 0) {
		uart_dev_1 = device_get_binding(uart_num);
		if (!uart_dev_1) {
			printk("[UART] Failed to get device!\n");
			return NULL;
		}
		// and initialise
		uart_irq_rx_disable(uart_dev_1);
		uart_irq_tx_disable(uart_dev_1);
		uart_irq_callback_set(uart_dev_1, uart_cb);
		uart_irq_rx_enable(uart_dev_1);
		return uart_dev_1;
	}
	return NULL;
}
```

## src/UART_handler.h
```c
#ifndef UART_HANDLER_LIBRARY_H_
#define UART_HANDLER_LIBRARY_H_


#define UART_RX_LINE_BUF_SIZE 128
#define UART_TX_LINE_BUF_SIZE 128

//ENDMARKERS the UART RX ISR is listening on. As soon as one of the ENDMARKERS occurs in
//the received bytes the UART RX ISR feeds the received message into a FIFO.
//IMPORTANT: If no ENDMARKER is found in the RX message, the message wont be forwarded to FIFO and is not available to the upper application!
#define COM_RX_ENDMARKER_1_UART0 0xC0 
#define COM_RX_ENDMARKER_2_UART0 0xC0

#define COM_RX_ENDMARKER_1_UART1 '\n' 
#define COM_RX_ENDMARKER_2_UART1 '\r'

//FIFO struct which helps for UART message transmission.
typedef struct {
	void  *fifo_reserved;
	uint8_t    data[UART_TX_LINE_BUF_SIZE];
	uint16_t   len;
} uart_data_t;

//FIFO struct which stores received UART messages
typedef struct {
	void *fifo_reserved;
	uint8_t *received_line;
	uint8_t len;
} uart_rx_fifo_data_t;

//Struct which helps storing UART_RX data in a FIFO queue.
typedef struct {
	uint8_t uart_rx_buff_len;
	uint8_t uart_rx_buf[UART_RX_LINE_BUF_SIZE];
	bool dirty;
} uart_rx_helper;

/**
 * @brief Checks if data is available from selected UART port
 *
 * @param[in] uart_dev   UART device which should be checked on available data
 *
 * @retval Zero when data is available, non-zero if no data is available
 */
int check_rx_uart_available(const struct device* uart_dev);


/**
 * @brief Sends message via chosen UART port.
 * Single or multiple bytes possible. Maximum message length depends on configured
 * CONFIG_UART_0_NRF_TX_BUFFER_SIZE and CONFIG_UART_1_NRF_TX_BUFFER_SIZE in the prj.conf file (when not specified the standard size of 32 bytes is applied). 
 *
 *
 * @param[in] tx_buf	Byte string of message to be send.     
 * @param[in] msg_len   Length of message to be send.
 * @param[in] uart_dev   UART device which shall send the message.
 *
 * @retval Zero on success, negative otherwise.
 */
int tx_message_uart(char* tx_buf, size_t msg_len, const struct device* uart_dev);


/**
 * @brief Reads message on chosen UART port. 
 *
 *
 * @param[in] rx_buf	Byte string of message to be send.     
 * @param[in] timeout	Maximum waiting period to obtain data.
 * @param[in] uart_dev   UART from which a potential message shall be received.
 *
 * @retval Zero on success, negative otherwise.
 */
int rx_message_uart(char* rx_buf, k_timeout_t timeout, const struct device* uart_dev);

/**
 * @brief Initialization of chosen UART device. The RX ISR UART receiption will not be initialized
 * using this function call and has to be activated manually.
 * This function supports to initialize the UART devices "UART_0" and "UART_1"
 * 
 * @param[in] uart_num	Name of UART device which shall be initialized.
 *
 * @retval Pointer to initialized UART device, NULL otherwise.
 */
const struct device* init_uart_dev(const char* uart_num);

/**
 * @brief Initialization of chosen UART device and activation of UART RX ISR receiption.
 * This function supports to initialize the UART devices "UART_0" and "UART_1"
 *
 * @param[in] uart_num	Name of UART device which shall be initialized.
 *
 * @retval Pointer to initialized UART device, NULL otherwise.
 */
const struct device* init_uart_dev_and_ISR(const char* uart_num);

#endif /* UART_HANDLER_LIBRARY_H_ */
```

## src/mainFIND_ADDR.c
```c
/* find device mac adrr: find the strongest which is rssi > -70 and print the mac adress of the divice */

/*
 * Copyright (c) 2015-2016 Intel Corporation
 *
 * SPDX-License-Identifier: Apache-2.0
 */
// 8899
#include <stdio.h>
#include <zephyr/types.h>
#include <stddef.h>
#include <errno.h>
#include <zephyr.h>
#include <sys/printk.h>
#include <device.h>
#include <devicetree.h>
#include <sys/__assert.h>
#include <string.h>
#include <drivers/uart.h>
#include <kernel.h>

#include <bluetooth/bluetooth.h>
#include <bluetooth/hci.h>
#include <bluetooth/conn.h>
#include <bluetooth/uuid.h>
#include <bluetooth/gatt.h>
#include <sys/byteorder.h>

// #include "UART_handler.h"
// #include <SEGGER_RTT.h>

#define TIME_THRESHOLD 15000

typedef struct Found_Dev {
	char addr[BT_ADDR_LE_STR_LEN];
	int rssi;
	int64_t lastUpdate;
} Found_Dev;

Found_Dev *devinfo;

static void start_scan(void);

static struct bt_conn *default_conn;

int is_same_addr(char *addr, char *target_addr)
{
	int cond = 0;
	for (int i = 0; i < BT_ADDR_LE_STR_LEN; i++) {
		cond = *(addr + i) == *(target_addr + i) ? 1 : 0;
		if (!cond) {
			return 0;
		}
	}
	return 1;
}

void get_addr_type(char *addr, char *type)
{
	uint8_t started = 0;
	int j = 0;
	for (int i = 0; i < BT_ADDR_LE_STR_LEN; i++) {
		if (*(addr + i) == *"(") {
			started = 1;
		}
		if (started) {
			*(type + j) = addr[i + 1];
			j++;
		}
		if (j > 5) {
			break;
		}
	}
	type[7] = *"\0";
}

static void device_found(const bt_addr_le_t *addr, int8_t rssi, uint8_t type,
			 struct net_buf_simple *ad)
{
	char addr_str[BT_ADDR_LE_STR_LEN];
	char addr_type[7] = "123456";
	int err;

	if (default_conn) {
		return;
	}
	if (rssi < -70) {
		return;
	}
	int64_t currTime = k_uptime_get();
	// if device is not there anymore reset rssi
	if (currTime - devinfo->lastUpdate > TIME_THRESHOLD) {
		devinfo->rssi = -200;
		printk("time threshold (%lld ms) reached, reseting rssi ... \n",
		       currTime - devinfo->lastUpdate);
	}

	if (rssi > devinfo->rssi) {
		devinfo->rssi = rssi;
		bt_addr_le_to_str(addr, devinfo->addr, sizeof(addr_str));
		get_addr_type(devinfo->addr, addr_type);

		if (strcmp(addr_type, "random") == 0) {
			return;
		}
		// strcpy(devinfo->addr, addr_str);
		devinfo->lastUpdate = currTime;

		printk("========================= \n\n");

		printk("mac: %s \n", devinfo->addr);
		printk("rssi: %d \n", devinfo->rssi);
		printk("lastUpdate: %lld \n", devinfo->lastUpdate);
		printk("========================= \n\n");
	}

	// printk("------------------------- \n");
	// bt_addr_le_to_str(addr, addr_str, sizeof(addr_str));
	// printk("mac: %s \n", addr_str);
	// printk("rssi: %d \n", rssi);
	// printk("lastUpdate: %lld \n", devinfo->lastUpdate);
	// printk("------------------------- \n");

	if (bt_le_scan_stop()) {
		return;
	}

	start_scan();
}

static void start_scan(void)
{
	int err;

	/* pasive scan */
	err = bt_le_scan_start(BT_LE_SCAN_PASSIVE, device_found);
	if (err) {
		printk("Scanning failed to start (err %d)\n", err);
		return;
	}

	// printk("Scanning successfully started\n");
}

static void connected(struct bt_conn *conn, uint8_t err)
{
	char addr[BT_ADDR_LE_STR_LEN];

	bt_addr_le_to_str(bt_conn_get_dst(conn), addr, sizeof(addr));

	if (err) {
		printk("Failed to connect to %s (%u)\n", addr, err);

		bt_conn_unref(default_conn);
		default_conn = NULL;

		start_scan();
		return;
	}

	if (conn != default_conn) {
		return;
	}

	printk("Connected: %s\n", addr);

	bt_conn_disconnect(conn, BT_HCI_ERR_REMOTE_USER_TERM_CONN);
}

static void disconnected(struct bt_conn *conn, uint8_t reason)
{
	char addr[BT_ADDR_LE_STR_LEN];

	if (conn != default_conn) {
		return;
	}

	bt_addr_le_to_str(bt_conn_get_dst(conn), addr, sizeof(addr));

	printk("Disconnected: %s (reason 0x%02x)\n", addr, reason);

	bt_conn_unref(default_conn);
	default_conn = NULL;

	start_scan();
}

static struct bt_conn_cb conn_callbacks = {
	.connected = connected,
	.disconnected = disconnected,
};

void main(void)

{
	// SEGGER_RTT_Init();
	k_msleep(3000);

	printk("starting the program ...\n");

	devinfo = (struct Found_Dev *)k_malloc(sizeof(struct Found_Dev));
	devinfo->lastUpdate = 0;
	devinfo->rssi = -200;

	int err;

	err = bt_enable(NULL);
	if (IS_ENABLED(CONFIG_SETTINGS)) {
		settings_load();
	}
	if (err) {
		printk("Bluetooth init failed (err %d)\n", err);
		return;
	}

	printk("Bluetooth initialized\n");

	bt_conn_cb_register(&conn_callbacks);

	start_scan();

	// while (true) {
	// 	int64_t currTime = k_uptime_get();
	// 	// printk("curr time-> %lld , time diff-> %lld \n", currTime,
	// 	//        currTime - lastTime);
	// 	if (currTime - lastTime > SENT_TIME_THRESHOLD) {
	// 		blt_force_stop();
	// 		prepare_payload(&payload, currTime);
	// 		//sed data
	// 		nbiot_send(&payload);
	// 		lastTime = k_uptime_get();
	// 		start_scan();
	// 	}
	// }
}
```

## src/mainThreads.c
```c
/* main.c - Application main entry point */

/*
 * Copyright (c) 2015-2016 Intel Corporation
 *
 * SPDX-License-Identifier: Apache-2.0
 */
// 8899
#include <stdio.h>
#include <zephyr/types.h>
#include <stddef.h>
#include <errno.h>
#include <zephyr.h>
#include <sys/printk.h>
#include <device.h>
#include <devicetree.h>
#include <sys/__assert.h>
#include <string.h>
#include <drivers/uart.h>
#include <kernel.h>

#include <bluetooth/bluetooth.h>
#include <bluetooth/hci.h>
#include <bluetooth/conn.h>
#include <bluetooth/uuid.h>
#include <bluetooth/gatt.h>
#include <sys/byteorder.h>

#include "UART_handler.h"
#include <SEGGER_RTT.h>

#define DEVICE_LABEL "ble_loc_d-02_"
#define SENT_TIME_THRESHOLD 3000
#define NUM_OF_BEACONS 10
#define PAYLOAD_BUFF_LEN NUM_OF_BEACONS * 7 + 8

#define P_STATUS_IDLE 0
#define P_STATUS_SENT 1
#define P_STATUS_READY_TO_SEND 2

#define STACKSIZE 2048
#define PRIORITY 7

typedef struct Found_Anchor {
	int anch_num;
	char *addr;
	int8_t rssi;
	int64_t lastUpdate;
} Found_Anchor;

struct Found_Anchor anchor_array[NUM_OF_BEACONS];

typedef struct Payload {
	char data[PAYLOAD_BUFF_LEN];
	int len;
} Payload;

struct send_data_t {
	// void *fifo_reserved;
	uint8_t status;
	struct Payload payload;
};

struct send_data_t SEND_DATA = { .status = P_STATUS_READY_TO_SEND,
				 .payload = { .data = "empty", .len = 0 } };

K_FIFO_DEFINE(lte_send_payload);

char BECON_ADDRS[NUM_OF_BEACONS][17] = {
	// "00:80:25:D1:29:B8", // 1-> 1003
	"00:80:25:E5:D3:0A",
	"00:80:25:D1:29:3A", //2-> 1006
	"00:80:25:D1:29:22", // 3-> 1031
	"00:80:25:D1:29:A9", // 4->1027
	"00:80:25:D1:29:55", //5 ->1015
	"00:80:25:CF:2F:C4", // 6 -> 2202
	"00:80:25:E5:D3:CA", // 7 -> 2101
	"88:6B:0F:6B:2B:30", // 8
	"88:6B:0F:6B:2D:2E", // 9
	"00:80:25:D1:28:BB", // 10
};

/*----------------------------------------------------------------
compares addr with all beacons addrs defined in BECON_ADDRS return beacon's index if it 
matches with at leas one of them otherwise returns -1
*/
int is_draeger_beacon(char *addr)
{
	int cond = 0;
	// memset(cond, 0, NUM_OF_BEACONS);

	for (int beacon_i = 0; beacon_i < NUM_OF_BEACONS; beacon_i++) {
		for (int i = 0; i < 17; i++) {
			cond = *(addr + i) == *(BECON_ADDRS[beacon_i] + i) ? 1 :
										   0;
			if (!cond) {
				break;
			}
		}
		if (cond) {
			return beacon_i;
		}
	}
	return -1;
}
static void start_scan(void);

static struct bt_conn *default_conn;

static void device_found(const bt_addr_le_t *addr, int8_t rssi, uint8_t type,
			 struct net_buf_simple *ad)
{
	char addr_str[BT_ADDR_LE_STR_LEN];
	int err;

	if (default_conn) {
		return;
	}

	bt_addr_le_to_str(addr, addr_str, sizeof(addr_str));

	/* We're only interested in connectable events */
	// if (type != BT_GAP_ADV_TYPE_ADV_IND &&
	//     type != BT_GAP_ADV_TYPE_ADV_DIRECT_IND) {
	// 	return;
	// }

	char just_addr[17] = { "\0" };
	memcpy(just_addr, addr_str, 17);
	// printk("Device found: %s (RSSI %d)\n", addr_str, rssi);

	int i_beacon = is_draeger_beacon(addr_str);
	// printk("i_beacon: %d \n", i_beacon);
	if (i_beacon != -1) {
		// printk("------------------------- \n");
		// printk("fount it! \n");
		printk("Device found: %s (RSSI %d)\n", addr_str, rssi);
		// printk("i_beacon: %d \n", i_beacon);
		int64_t currTime = k_uptime_get();
		anchor_array[i_beacon].lastUpdate = currTime;
		anchor_array[i_beacon].rssi = -1 * rssi;
		anchor_array[i_beacon].anch_num = i_beacon + 1;
		memcpy(anchor_array[i_beacon].addr, addr_str, 17);
		anchor_array[i_beacon].addr[17] = *"\0";
		// printk("anch_num: %d \n", anchor_array[i_beacon].anch_num);
		// printk("anch_rssi: %d \n", anchor_array[i_beacon].rssi);
		// printk("anch_addr %s \n", anchor_array[i_beacon].addr);
		// printk("lastUpdate %lld \n", anchor_array[i_beacon].lastUpdate);

		// printk("------------------------- \n");
	}

	/* connect only to devices in close proximity */

	if (bt_le_scan_stop()) {
		return;
	}

	// err = bt_conn_le_create(addr, BT_CONN_LE_CREATE_CONN,
	// 			BT_LE_CONN_PARAM_DEFAULT, &default_conn);
	// if (err) {
	// 	printk("Create conn to %s failed (%u)\n", addr_str, err);
	// 	start_scan();
	// }
	start_scan();
}

static void start_scan(void)
{
	int err;

	/* pasive scan */
	err = bt_le_scan_start(BT_LE_SCAN_PASSIVE, device_found);
	if (err) {
		printk("Scanning failed to start (err %d)\n", err);
		return;
	}

	// printk("Scanning successfully started\n");
}

static void connected(struct bt_conn *conn, uint8_t err)
{
	char addr[BT_ADDR_LE_STR_LEN];

	bt_addr_le_to_str(bt_conn_get_dst(conn), addr, sizeof(addr));

	if (err) {
		printk("Failed to connect to %s (%u)\n", addr, err);

		bt_conn_unref(default_conn);
		default_conn = NULL;

		start_scan();
		return;
	}

	if (conn != default_conn) {
		return;
	}

	printk("Connected: %s\n", addr);

	bt_conn_disconnect(conn, BT_HCI_ERR_REMOTE_USER_TERM_CONN);
}

static void disconnected(struct bt_conn *conn, uint8_t reason)
{
	char addr[BT_ADDR_LE_STR_LEN];

	if (conn != default_conn) {
		return;
	}

	bt_addr_le_to_str(bt_conn_get_dst(conn), addr, sizeof(addr));

	printk("Disconnected: %s (reason 0x%02x)\n", addr, reason);

	bt_conn_unref(default_conn);
	default_conn = NULL;

	start_scan();
}

static struct bt_conn_cb conn_callbacks = {
	.connected = connected,
	.disconnected = disconnected,
};

const struct device *uart1_dev;
static void init_uart()
{
	// uint8_t err = 0;
	// const struct device *uart1_dev;
	uart1_dev = init_uart_dev("UART_1");
	if (!uart1_dev) {
		printk("[UART] Failed to get device!\n");
	}
	uart_irq_rx_enable(uart1_dev);
}

static void nbiot_send(struct Payload *payload)
{
	int err;
	char tx_buffer[UART_TX_LINE_BUF_SIZE] = { '\0' };
	char rx_buffer[UART_RX_LINE_BUF_SIZE] = { '\0' };
	int len = 0;

	// memcpy(tx_buffer, payload->data, payload->len);
	strcpy(tx_buffer, payload->data);
	printk("Send to nRF9160: %s\n", tx_buffer);
	uart_irq_rx_enable(uart1_dev);
	err = tx_message_uart(tx_buffer, strlen(tx_buffer), uart1_dev);
	if (err < 0) {
		printk("FAILED UART TX\n");
	}
	// memset(tx_buffer, 0, sizeof(tx_buffer));

	len = rx_message_uart(rx_buffer, K_MSEC(1000), uart1_dev);
	if (len <= 0) {
		printk("Failed UART RX Receiption from nRF9160\n");
	} else {
		printk("UART RX from nRF9160: %s\n", rx_buffer);
		if (!strcmp(rx_buffer, "ACK\n") == 0) {
			printk("faliled to recieve acknowledgement!\n");
		}
	}
	printk("out ...\n");
	k_msleep(2000);

	uart_irq_rx_disable(uart1_dev);
}

int blt_force_stop()
{
	int flag = 1;
	int ret;
	int MAX_ITER = 6000;
	int iter = 0;
	while (flag) {
		ret = bt_scan_stop();
		if (ret == 0) {
			flag = 0;
		}
		if (iter > MAX_ITER) {
			flag = 0;
		}
		iter++;
	}

	return ret;
}

int get_last_index(char *data)
{
	int tip = 0;
	while (*(data + tip) != '\0') {
		tip++;
	}
	return tip;
}

void prepare_payload(struct Payload *payload, int64_t currTime)
{
	memset(payload->data, 0, PAYLOAD_BUFF_LEN);
	// int EPS = 1000;
	strcpy(payload->data, DEVICE_LABEL);
	int data_tip = get_last_index(payload->data);
	printk("\n\n++++++++++++++++++++++++++++++++++++++\n");

	for (int i_anchor = 0; i_anchor < NUM_OF_BEACONS; i_anchor++) {
		// printk("index: %d\n", i_anchor);
		// printk("diff: %lld \n",
		//    currTime - anchor_array[i_anchor].lastUpdate);
		if (currTime - anchor_array[i_anchor].lastUpdate <
		    SENT_TIME_THRESHOLD) {
			// printk("anchor_num: %d\n",
			//        anchor_array[i_anchor].anch_num);
			u8_to_dec(payload->data + data_tip, 3,
				  anchor_array[i_anchor].anch_num);

			data_tip = get_last_index(payload->data);
			strcpy(payload->data + data_tip, "-");
			data_tip += 1;
			u8_to_dec(payload->data + data_tip, 3,
				  anchor_array[i_anchor].rssi);
			// printk("anchor_rssi: %d\n",
			//        anchor_array[i_anchor].rssi);

			data_tip = get_last_index(payload->data);
			strcpy(payload->data + data_tip, "-");
			data_tip += 1;
		}
	}
	if (data_tip != 8) {
		// printk("data_tip %d\n", data_tip);
		payload->data[data_tip - 1] = *"\n";
	}
	payload->data[data_tip] = *"\0";
	payload->len = data_tip;

	printk("final payload->len: %d\n", payload->len);
	printk("final payload->data: %s", payload->data);
	printk("\n++++++++++++++++++++++++++++++++++++++\n\n");

	SEND_DATA.status = P_STATUS_READY_TO_SEND;
	memcpy(&SEND_DATA.payload, payload, sizeof(payload));
	// size_t size = sizeof(struct send_data_t);
	// char *mem_ptr = k_malloc(size);
	// __ASSET_NO_MSG(mem_ptr != 0);
	// memcpy(mem_ptr, &send_data, size);
	// k_fifo_put(&lte_send_payload, mem_ptr);
}

void init_anchor_array()
{
	for (int i = 0; i < NUM_OF_BEACONS; i++) {
		anchor_array[i] = *(struct Found_Anchor *)k_malloc(
			sizeof(struct Found_Anchor));
		anchor_array[i].addr = (char *)k_malloc(17 * sizeof(char *));
		// memset(anchor_array[i].addr, 0, 17);
		anchor_array[i].anch_num = i + 1;
		anchor_array[i].rssi = 0;
		anchor_array[i].lastUpdate = 0;
	}
}

void lte_send_thread(void)
{
	SEGGER_RTT_Init();
	k_msleep(3000);
	printk("starting sending lte ...\n");
	if (IS_ENABLED(CONFIG_SETTINGS)) {
		settings_load();
	}
	init_uart();
	if (IS_ENABLED(CONFIG_SETTINGS)) {
		settings_load();
	}
	while (1) {
		// struct send_data_t *data =
		// 	k_fifo_get(&lte_send_payload, K_FOREVER);
		if (SEND_DATA.status == P_STATUS_READY_TO_SEND) {
			nbiot_send(&SEND_DATA.payload);
			SEND_DATA.status = P_STATUS_SENT;
			// size_t size = sizeof(struct send_data_t);
			// char *mem_ptr = k_malloc(size);
			// __ASSET_NO_MSG(mem_ptr != 0);
			// memcpy(mem_ptr, &send_data, size);
			// k_fifo_put(&lte_send_payload, mem_ptr);
		}
		// k_free(data);
	}
}

void search_beacons_thread(void)
{
	SEGGER_RTT_Init();
	k_msleep(3000);
	printk("starting beacon_search ...\n");
	if (IS_ENABLED(CONFIG_SETTINGS)) {
		settings_load();
	}
	init_anchor_array();
	struct Payload payload =
		*(struct Payload *)k_malloc(sizeof(struct Payload));

	int err;
	err = bt_enable(NULL);
	printk("Bluetooth initialized status: %d\n", err);
	bt_conn_cb_register(&conn_callbacks);
	start_scan();
	int64_t lastTime = 0;

	while (true) {
		int64_t currTime = k_uptime_get();
		// printk("curr time-> %lld , time diff-> %lld \n", currTime,
		//        currTime - lastTime);
		if (currTime - lastTime > SENT_TIME_THRESHOLD) {
			blt_force_stop();
			prepare_payload(&payload, currTime);
			//sed data
			// nbiot_send(&payload);
			k_msleep(4000);
			lastTime = k_uptime_get();
			start_scan();
		}
	}
}

// void main(void)

// {
// 	SEGGER_RTT_Init();
// 	k_msleep(3000);

// 	printk("starting the program ...\n");

// 	init_uart();
// 	init_anchor_array();
// 	struct Payload payload =
// 		*(struct Payload *)k_malloc(sizeof(struct Payload));

// 	int err;

// 	err = bt_enable(NULL);
// 	if (IS_ENABLED(CONFIG_SETTINGS)) {
// 		settings_load();
// 	}
// 	if (err) {
// 		printk("Bluetooth init failed (err %d)\n", err);
// 		return;
// 	}

// 	printk("Bluetooth initialized\n");

// 	bt_conn_cb_register(&conn_callbacks);

// 	start_scan();

// 	int64_t lastTime = 0;

// 	while (true) {
// 		int64_t currTime = k_uptime_get();
// 		// printk("curr time-> %lld , time diff-> %lld \n", currTime,
// 		//        currTime - lastTime);
// 		if (currTime - lastTime > SENT_TIME_THRESHOLD) {
// 			blt_force_stop();
// 			prepare_payload(&payload, currTime);
// 			//sed data
// 			nbiot_send(&payload);
// 			// k_msleep(4000);
// 			lastTime = k_uptime_get();
// 			start_scan();
// 		}
// 	}
// }

// K_THREAD_DEFINE(search_id, STACKSIZE, search_beacons_thread, NULL, NULL, NULL,
// 		PRIORITY, 0, 0);
K_THREAD_DEFINE(send_id, STACKSIZE, lte_send_thread, NULL, NULL, NULL, PRIORITY,
		0, 0);
```
